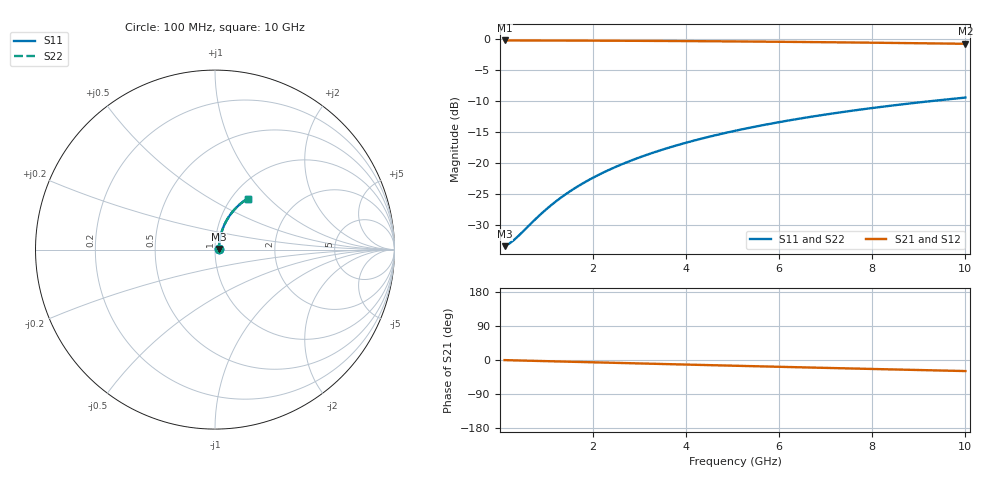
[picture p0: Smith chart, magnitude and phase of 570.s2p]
# Hz S RI R 50.00
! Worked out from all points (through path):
!   100 points, 100 MHz to 10 GHz, reference 50 ohm
!   highest |S21| = -0.19 dB at 100 MHz (marker M1); lowest = -0.7 dB at 10 GHz (marker M2)
!   group delay of S21, straight-line fit = 8.13 ps
!   lowest |S11| = -33.4 dB at 100 MHz (marker M3), VSWR 1.04, Z = 52.2 + j0.372 ohm
!   |S11| at or under -10 dB: start of sweep to 9.234 GHz
!   |S22| runs from -33.4 to -9.4 dB; largest |S21 - S12| = 0
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1e8  0.0211 0.00356  0.9789 -0.00518  0.9789 -0.00518  0.0211 0.00356
2e8  0.0213 0.00712  0.9787 -0.0104  0.9787 -0.0104  0.0213 0.00712
3e8  0.0215 0.0107  0.9785 -0.0155  0.9785 -0.0155  0.0215 0.0107
4e8  0.0217 0.0142  0.9783 -0.0207  0.9783 -0.0207  0.0217 0.0142
8e8  0.0228 0.0284  0.9771 -0.0414  0.9771 -0.0414  0.0228 0.0284
1.1e9  0.024 0.039  0.9758 -0.0569  0.9758 -0.0569  0.024 0.039
1.4e9  0.0255 0.0495  0.9742 -0.0723  0.9742 -0.0723  0.0255 0.0495
1.6e9  0.0267 0.0565  0.9729 -0.0825  0.9729 -0.0825  0.0267 0.0565
1.8e9  0.0281 0.0635  0.9715 -0.0927  0.9715 -0.0927  0.0281 0.0635
2.1e9  0.0303 0.0739  0.9691 -0.108  0.9691 -0.108  0.0303 0.0739
2.5e9  0.0338 0.0875  0.9653 -0.1282  0.9653 -0.1282  0.0338 0.0875
2.9e9  0.0379 0.101  0.961 -0.1482  0.961 -0.1482  0.0379 0.101
3.4e9  0.0437 0.1176  0.9547 -0.1729  0.9547 -0.1729  0.0437 0.1176
3.8e9  0.049 0.1305  0.9491 -0.1923  0.9491 -0.1923  0.049 0.1305
4.2e9  0.0547 0.1432  0.9428 -0.2115  0.9428 -0.2115  0.0547 0.1432
4.6e9  0.061 0.1556  0.9361 -0.2304  0.9361 -0.2304  0.061 0.1556
5.1e9  0.0695 0.1706  0.9269 -0.2536  0.9269 -0.2536  0.0695 0.1706
5.9e9  0.0845 0.1935  0.9107 -0.2896  0.9107 -0.2896  0.0845 0.1935
6.7e9  0.1012 0.2148  0.8927 -0.3241  0.8927 -0.3241  0.1012 0.2148
7.5e9  0.1193 0.2346  0.873 -0.357  0.873 -0.357  0.1193 0.2346
8.4e9  0.1412 0.2546  0.8492 -0.3919  0.8492 -0.3919  0.1412 0.2546
1e10  0.1831 0.2847  0.8031 -0.4485  0.8031 -0.4485  0.1831 0.2847
